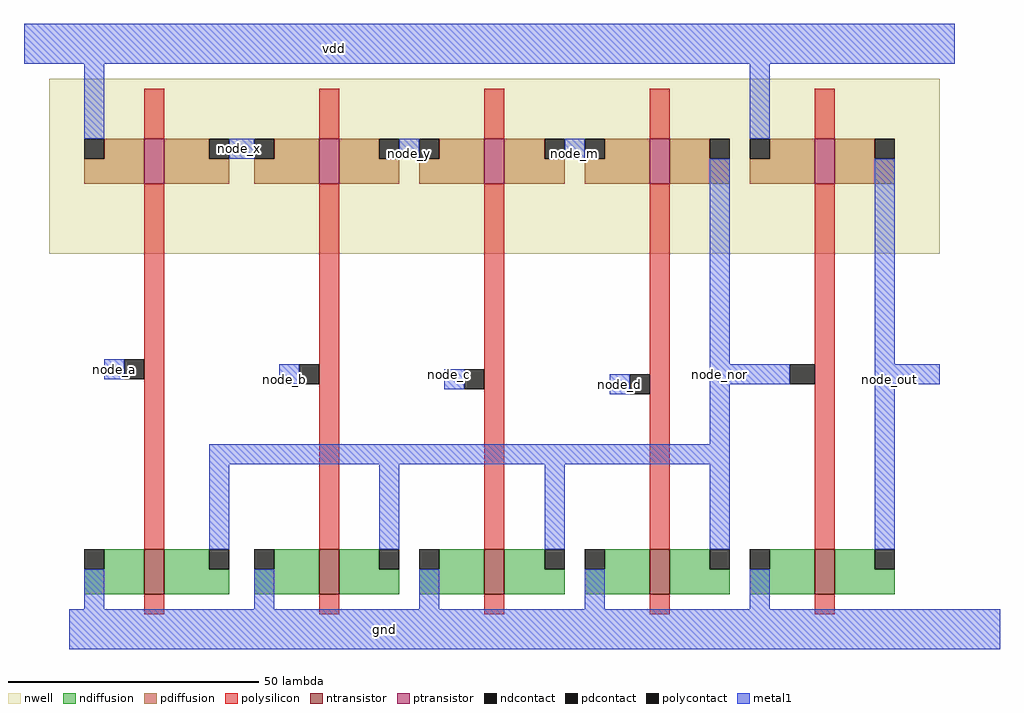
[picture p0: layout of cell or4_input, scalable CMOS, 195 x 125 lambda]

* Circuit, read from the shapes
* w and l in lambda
.subckt or4_input gnd node_a node_b node_c node_d node_m node_nor node_out node_x node_y vdd
M1 node_nor node_a gnd VSUBS nfet w=9 l=4
M2 node_nor node_b gnd VSUBS nfet w=9 l=4
M3 node_nor node_c gnd VSUBS nfet w=9 l=4
M4 node_nor node_d gnd VSUBS nfet w=9 l=4
M5 node_out node_nor gnd VSUBS nfet w=9 l=4
M6 node_x node_a vdd n1 pfet w=9 l=4
M7 node_y node_b node_x n1 pfet w=9 l=4
M8 node_m node_c node_y n1 pfet w=9 l=4
M9 node_nor node_d node_m n1 pfet w=9 l=4
M10 node_out node_nor vdd n1 pfet w=9 l=4
.ends

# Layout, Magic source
magic
tech scmos
<< nwell >>
rect -735 299 -557 334
<< ntransistor >>
rect -716 231 -712 240
rect -681 231 -677 240
rect -648 231 -644 240
rect -615 231 -611 240
rect -582 231 -578 240
<< ptransistor >>
rect -716 313 -712 322
rect -681 313 -677 322
rect -648 313 -644 322
rect -615 313 -611 322
rect -582 313 -578 322
<< ndiffusion >>
rect -724 236 -716 240
rect -728 231 -716 236
rect -712 236 -703 240
rect -712 231 -699 236
rect -690 236 -681 240
rect -694 231 -681 236
rect -677 236 -669 240
rect -677 231 -665 236
rect -657 236 -648 240
rect -661 231 -648 236
rect -644 236 -636 240
rect -644 231 -632 236
rect -624 236 -615 240
rect -628 231 -615 236
rect -611 236 -603 240
rect -611 231 -599 236
rect -591 236 -582 240
rect -595 231 -582 236
rect -578 236 -570 240
rect -578 231 -566 236
<< pdiffusion >>
rect -724 318 -716 322
rect -728 313 -716 318
rect -712 318 -703 322
rect -712 313 -699 318
rect -690 318 -681 322
rect -694 313 -681 318
rect -677 318 -669 322
rect -677 313 -665 318
rect -657 318 -648 322
rect -661 313 -648 318
rect -644 318 -636 322
rect -644 313 -632 318
rect -624 318 -615 322
rect -628 313 -615 318
rect -611 318 -603 322
rect -611 313 -599 318
rect -591 318 -582 322
rect -595 313 -582 318
rect -578 318 -570 322
rect -578 313 -566 318
<< ndcontact >>
rect -728 236 -724 240
rect -703 236 -699 240
rect -694 236 -690 240
rect -669 236 -665 240
rect -661 236 -657 240
rect -636 236 -632 240
rect -628 236 -624 240
rect -603 236 -599 240
rect -595 236 -591 240
rect -570 236 -566 240
<< pdcontact >>
rect -728 318 -724 322
rect -703 318 -699 322
rect -694 318 -690 322
rect -669 318 -665 322
rect -661 318 -657 322
rect -636 318 -632 322
rect -628 318 -624 322
rect -603 318 -599 322
rect -595 318 -591 322
rect -570 318 -566 322
<< polysilicon >>
rect -716 322 -712 332
rect -681 322 -677 332
rect -648 322 -644 332
rect -615 322 -611 332
rect -582 322 -578 332
rect -716 240 -712 313
rect -681 240 -677 313
rect -648 240 -644 313
rect -615 240 -611 313
rect -582 240 -578 313
rect -716 227 -712 231
rect -681 227 -677 231
rect -648 227 -644 231
rect -615 227 -611 231
rect -582 227 -578 231
<< polycontact >>
rect -720 274 -716 278
rect -685 273 -681 277
rect -652 272 -648 276
rect -619 271 -615 275
rect -587 273 -582 277
<< metal1 >>
rect -740 337 -554 345
rect -728 322 -724 337
rect -595 322 -591 337
rect -699 318 -694 322
rect -665 318 -661 322
rect -632 318 -628 322
rect -724 274 -720 278
rect -603 277 -599 318
rect -570 277 -566 318
rect -689 273 -685 277
rect -656 272 -652 276
rect -623 271 -619 275
rect -603 273 -587 277
rect -570 273 -557 277
rect -603 261 -599 273
rect -703 257 -599 261
rect -703 240 -699 257
rect -669 240 -665 257
rect -636 240 -632 257
rect -603 240 -599 257
rect -570 240 -566 273
rect -728 228 -724 236
rect -694 228 -690 236
rect -661 228 -657 236
rect -628 228 -624 236
rect -595 228 -591 236
rect -731 220 -545 228
<< labels >>
rlabel metal1 -678 340 -678 340 5 vdd
rlabel metal1 -697 320 -697 320 1 node_x
rlabel metal1 -663 319 -663 319 1 node_y
rlabel metal1 -630 319 -630 319 1 node_m
rlabel metal1 -601 275 -601 275 1 node_nor
rlabel metal1 -567 274 -567 274 1 node_out
rlabel metal1 -722 276 -722 276 1 node_a
rlabel metal1 -688 274 -688 274 1 node_b
rlabel metal1 -655 275 -655 275 1 node_c
rlabel metal1 -621 273 -621 273 1 node_d
rlabel metal1 -668 224 -668 224 1 gnd
<< end >>
